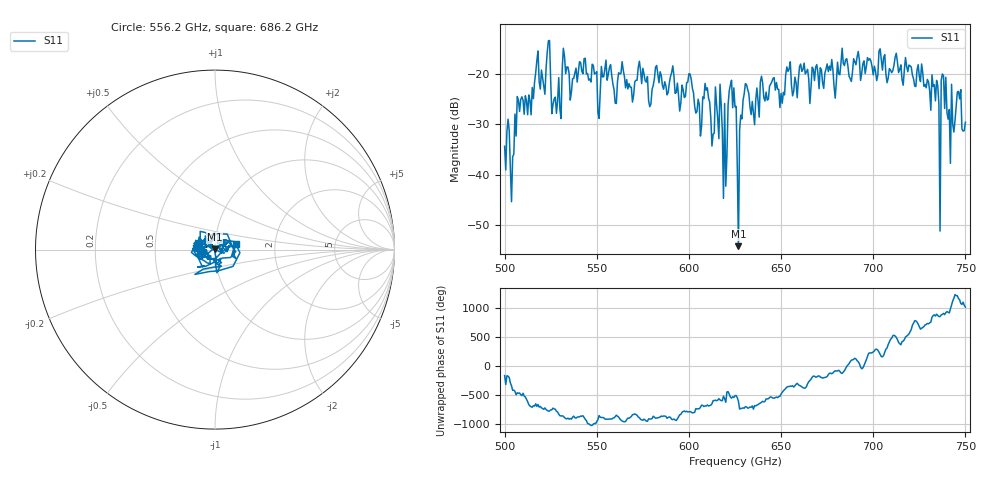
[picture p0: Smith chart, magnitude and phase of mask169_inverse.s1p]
!Created with skrf (http://scikit-rf.org).
# GHz S MA R 50.0
!freq magS11 angS11
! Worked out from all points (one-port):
!   401 points, 500 GHz to 750 GHz, reference 50 ohm
!   lowest |S11| = -54.1 dB at 626.9 GHz (marker M1), VSWR 1.00, Z = 49.9 + j0.186 ohm
!   |S11| at or under -10 dB: start of sweep to end of sweep
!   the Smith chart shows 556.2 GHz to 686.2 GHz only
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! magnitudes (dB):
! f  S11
! 500 GHz  -34.4
! 503.8 GHz  -45.3
! 508.1 GHz  -27.5
! 517.5 GHz  -17.4
! 523.8 GHz  -13.6
! 526.9 GHz  -25.0
! 531.2 GHz  -19.1
! 562.5 GHz  -20.1
! 593.8 GHz  -21.9
! 610 GHz  -22.8
! 612.5 GHz  -34.3
! 616.2 GHz  -32.9
! 619.4 GHz  -25.9
! 622.5 GHz  -22.3
! 625 GHz  -26.6
! 626.9 GHz  -54.1
! 630.6 GHz  -22.0
! 634.4 GHz  -25.5
! 656.2 GHz  -24.4
! 687.5 GHz  -21.0
! 718.8 GHz  -19.6
! 733.1 GHz  -22.2
! 735 GHz  -22.4
! 737.5 GHz  -20.1
! 738.1 GHz  -20.4
! 740.6 GHz  -29.0
! 746.2 GHz  -23.5
! 750 GHz  -29.6
